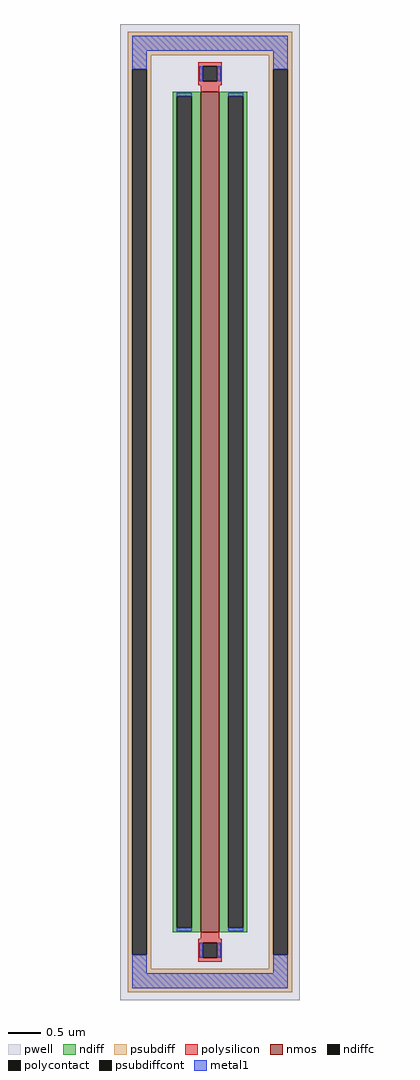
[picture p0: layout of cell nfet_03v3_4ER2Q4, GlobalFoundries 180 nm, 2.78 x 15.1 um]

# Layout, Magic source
magic
tech gf180mcuD
magscale 1 10
<< pwell >>
rect -278 -1510 278 1510
<< nmos >>
rect -28 -1300 28 1300
<< ndiff >>
rect -116 1287 -28 1300
rect -116 -1287 -103 1287
rect -57 -1287 -28 1287
rect -116 -1300 -28 -1287
rect 28 1287 116 1300
rect 28 -1287 57 1287
rect 103 -1287 116 1287
rect 28 -1300 116 -1287
<< ndiffc >>
rect -103 -1287 -57 1287
rect 57 -1287 103 1287
<< psubdiff >>
rect -254 1414 254 1486
rect -254 1370 -182 1414
rect -254 -1370 -241 1370
rect -195 -1370 -182 1370
rect 182 1370 254 1414
rect -254 -1414 -182 -1370
rect 182 -1370 195 1370
rect 241 -1370 254 1370
rect 182 -1414 254 -1370
rect -254 -1486 254 -1414
<< psubdiffcont >>
rect -241 -1370 -195 1370
rect 195 -1370 241 1370
<< polysilicon >>
rect -36 1379 36 1392
rect -36 1333 -23 1379
rect 23 1333 36 1379
rect -36 1320 36 1333
rect -28 1300 28 1320
rect -28 -1320 28 -1300
rect -36 -1333 36 -1320
rect -36 -1379 -23 -1333
rect 23 -1379 36 -1333
rect -36 -1392 36 -1379
<< polycontact >>
rect -23 1333 23 1379
rect -23 -1379 23 -1333
<< metal1 >>
rect -241 1427 241 1473
rect -241 1370 -195 1427
rect -34 1333 -23 1379
rect 23 1333 34 1379
rect 195 1370 241 1427
rect -103 1287 -57 1298
rect -103 -1298 -57 -1287
rect 57 1287 103 1298
rect 57 -1298 103 -1287
rect -241 -1427 -195 -1370
rect -34 -1379 -23 -1333
rect 23 -1379 34 -1333
rect 195 -1427 241 -1370
rect -241 -1473 241 -1427
<< properties >>
string FIXED_BBOX -218 -1450 218 1450
string gencell nfet_03v3
string library gf180mcu
string parameters w 13.0 l 0.28 m 1 nf 1 diffcov 100 polycov 100 guard 1 glc 1 grc 1 gtc 0 gbc 0 tbcov 100 rlcov 100 topc 1 botc 1 poverlap 0 doverlap 1 lmin 0.28 wmin 0.22 class mosfet full_metal 1 compatible {nfet_03v3 nfet_05v0 nfet_06v0 nfet_06v0_nvt} ad {int((nf+1)/2) * W/nf * 0.18u} as {int((nf+2)/2) * W/nf * 0.18u} pd {2*int((nf+1)/2) * (W/nf + 0.18u)} ps {2*int((nf+2)/2) * (W/nf + 0.18u)} nrd {0.18u / W} nrs {0.18u / W} sa 0 sb 0 sd 0
<< end >>
